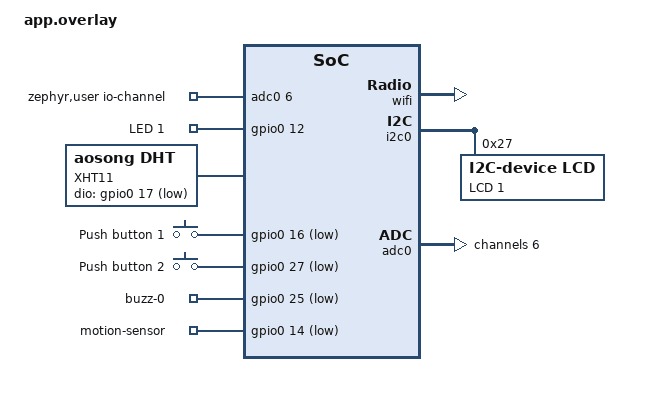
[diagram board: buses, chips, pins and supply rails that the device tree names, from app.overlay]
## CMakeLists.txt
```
cmake_minimum_required(VERSION 3.20.0)

find_package(Zephyr REQUIRED HINTS 
$ENV{ZEPHYR_BASE})
project(zephyr_smart_home)

target_sources(app PRIVATE 
    src/lcd_screen_i2c.c
    src/main.c
    src/adc_handler.c
    src/wifi_handler.c
)
```

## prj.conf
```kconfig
# Sensor
CONFIG_I2C=y
CONFIG_SENSOR=y
CONFIG_ADC=y

CONFIG_WIFI=y
CONFIG_INIT_STACKS=y
# Enable Wifi Management Interface
CONFIG_NET_L2_WIFI_MGMT=y
# Wifi requires large heap size
CONFIG_HEAP_MEM_POOL_SIZE=98304
# Add support for ethernet layer (used in wifi)
CONFIG_NET_L2_ETHERNET=y
CONFIG_ESP32_WIFI_STA_AUTO_DHCPV4=y
CONFIG_NETWORKING=y
CONFIG_NET_IPV4=y
CONFIG_NET_IPV6=n
CONFIG_NET_UDP=y
CONFIG_NET_TCP=y
CONFIG_DNS_RESOLVER=y
CONFIG_DNS_RESOLVER_AI_MAX_ENTRIES=10
CONFIG_NET_SOCKETS_POSIX_NAMES=y
CONFIG_NET_SOCKETS=y
CONFIG_HTTP_CLIENT=y
# Use DHCP for IPv4
CONFIG_NET_DHCPV4=y
CONFIG_NET_CONFIG_SETTINGS=y
CONFIG_NET_TX_STACK_SIZE=2048
CONFIG_NET_RX_STACK_SIZE=2048
CONFIG_NET_PKT_TX_COUNT=10
CONFIG_NET_PKT_RX_COUNT=10
CONFIG_NET_BUF_RX_COUNT=20
CONFIG_NET_BUF_TX_COUNT=20
CONFIG_NET_MAX_CONTEXTS=10
```

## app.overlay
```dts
/ {

    zephyr,user{
        io-channels = <&adc0 6>;
    };

    gpio_keys {
        compatible = "gpio-keys";
        ledyellow: led_yellow {
            gpios = <&gpio0 12 GPIO_ACTIVE_HIGH>;
            label = "LED 1";
        };
    };

    dht11: dht11 {
        compatible = "aosong,dht";
        status = "okay";
        dio-gpios = <&gpio0 17 GPIO_ACTIVE_LOW>;
        label = "XHT11";
        };
        
    buttons {
        compatible = "gpio-keys";
        button0: button_0 {
        gpios = <&gpio0 16 (GPIO_PULL_UP | GPIO_ACTIVE_LOW)>;
        label = "Push button 1";
        };
        button1: button_1 {
        gpios = <&gpio0 27 (GPIO_PULL_UP | GPIO_ACTIVE_LOW)>;
        label = "Push button 2";
        };
    };

    buzzer {
        compatible = "gpio-keys";
        buzz0: buzz_0 {
        gpios = <&gpio0 25 GPIO_ACTIVE_LOW>;
        label = "buzz-0";
        };
    };

    pir {
        compatible = "gpio-keys";
        motionsensor: motion_sensor {
        gpios = <&gpio0 14 GPIO_ACTIVE_LOW>;
        label = "motion-sensor";
        };
    };

    aliases {
        led-yellow = &ledyellow;
        lcd-screen = &lcd;
        button-0 = &button0;
        button-1 = &button1;
        buzz-0 = &buzz0;
        motion-sensor = &motionsensor;
    };

};

&wifi {
    status = "okay";
};

&i2c0 {
	lcd: lcd_screen@27 {
		compatible = "I2C-device,lcd";
		label = "LCD 1";
		reg = <0x27>;
	};

};


&adc0{

    status = "okay";
    #address-cells = <1>;
    #size-cells = <0>;

    channel@6 {
       reg = <0x06>;
       zephyr,gain = "ADC_GAIN_1_4";
       zephyr,reference = "ADC_REF_INTERNAL";
       zephyr,acquisition-time = <ADC_ACQ_TIME_DEFAULT>;
       zephyr,resolution = <12>;
   };
};
```

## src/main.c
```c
#include <zephyr/kernel.h>
#include <zephyr/drivers/gpio.h>
#include <zephyr/drivers/i2c.h>
#include <zephyr/drivers/adc.h>
#include <zephyr/device.h>
#include <zephyr/drivers/sensor.h>

#include <zephyr/net/net_if.h>
#include <zephyr/net/wifi_mgmt.h>
#include <zephyr/net/socket.h>
#include <zephyr/net/net_event.h>
#include <zephyr/net/http/client.h>
#include <errno.h>

#include <inttypes.h>
#include <stddef.h>
#include <stdint.h>
#include <stdio.h>
#include <stdlib.h>
#include <string.h>

#include <zephyr/devicetree.h>
#include <zephyr/sys/printk.h>
#include <zephyr/sys/util.h>


#include "../inc/lcd_screen_i2c.h"
#include "../inc/adc_handler.h"
#include "../inc/wifi_handler.h"

#define LED_YELLOW_NODE DT_ALIAS(led_yellow)
#define LCD_1602 DT_ALIAS(lcd_screen)
#define BUTTON_0 DT_ALIAS(button_0)
#define BUTTON_1 DT_ALIAS(button_1)
#define BUZZ_0 DT_ALIAS(buzz_0)
#define MOTION_SENSOR DT_ALIAS(motion_sensor)

K_MUTEX_DEFINE(lcd_mutex);

const struct device *const dht11 = DEVICE_DT_GET_ONE(aosong_dht);
const struct gpio_dt_spec led_yellow_gpio = GPIO_DT_SPEC_GET_OR(LED_YELLOW_NODE, gpios, {0});
const struct i2c_dt_spec dev_lcd_screen = I2C_DT_SPEC_GET(LCD_1602);

const struct gpio_dt_spec b0 = GPIO_DT_SPEC_GET_OR(BUTTON_0, gpios, {0});
const struct gpio_dt_spec b1 = GPIO_DT_SPEC_GET_OR(BUTTON_1, gpios, {0});

const struct gpio_dt_spec buzz0 = GPIO_DT_SPEC_GET_OR(BUZZ_0, gpios, {0});

const struct gpio_dt_spec MotionSensor = GPIO_DT_SPEC_GET_OR(MOTION_SENSOR, gpios, {0});

static struct gpio_callback b0_callback;
static struct gpio_callback b1_callback;
volatile int flag = 0;
volatile int flag_d = 0;
volatile int state_alarm = 0;
volatile int state_intru = 0;


K_SEM_DEFINE(init_gpio_sem,0,3);

//K_SEM_DEFINE(alarm_sem,0,1);


void button0_pressed(const struct device *dev, struct gpio_callback *cb,uint32_t pins)
{
	printk("Button pressed at %" PRIu32 "\n", k_cycle_get_32());
	flag = 1;
	printk("flag int %d\n",flag);
}

void button1_pressed(const struct device *dev, struct gpio_callback *cb,uint32_t pins)
{
	printk("Button pressed at %" PRIu32 "\n", k_cycle_get_32());
	flag_d = 1;
	printk("flag_d int %d\n",flag);
}

void sensor_channel_thread() {

	k_sem_take(&init_gpio_sem, K_FOREVER);

	printk("Je suis dans le thread sensor\n");
	init_adc_driver();

	while(1) {

		struct sensor_value temp, press, humidity;

		sensor_sample_fetch(dht11);
		sensor_channel_get(dht11, SENSOR_CHAN_AMBIENT_TEMP, &temp);
		sensor_channel_get(dht11, SENSOR_CHAN_PRESS, &press);
		sensor_channel_get(dht11, SENSOR_CHAN_HUMIDITY, &humidity);

		printk("temp: %d.%06d;  humidity: %d.%06d ",
		      temp.val1, temp.val2, 
		      humidity.val1, humidity.val2);
		
		int val  = read_analog_data();
		
		printk("val steam: %d\n", val);

		k_sleep(K_MSEC(1000));
	}
}

/*
void button_thread() {

	k_sem_take(&init_gpio_sem, K_FOREVER);
}
*/

//lcd_alarm_off(flag, &dev_lcd_screen, STOP_ALERT_MONITORING_MSG_2, LCD_LINE_2 );
//lcd_alarm_on(flag_d, &dev_lcd_screen, START_ALERT_MONITORING_MSG_1, LCD_LINE_2 );

void alarm_thread(){

	k_sem_take(&init_gpio_sem, K_FOREVER);
	printk("Je suis dans le thread alarm lcd\n");

	while(1) 
	{

		int sens_val = gpio_pin_get_dt(&MotionSensor);


		if(sens_val == 0 && state_alarm == 1 && flag == 0  && flag_d == 0) {
			k_mutex_lock(&lcd_mutex, K_FOREVER);
			write_lcd(&dev_lcd_screen, INTRUDER_MSG_1, LCD_LINE_1);
			write_lcd(&dev_lcd_screen, INTRUDER_MSG_2, LCD_LINE_2);
			k_mutex_unlock(&lcd_mutex);

		}
		else if(sens_val == 1 && state_alarm == 1 && flag == 0  && flag_d == 0) {
			k_mutex_lock(&lcd_mutex, K_FOREVER);
			write_lcd(&dev_lcd_screen, HELLO_MSG, LCD_LINE_1);
			write_lcd(&dev_lcd_screen, START_ALERT_MONITORING_MSG_1, LCD_LINE_2);
			k_mutex_unlock(&lcd_mutex);
		}

		k_sleep(K_MSEC(10));

	}
}


int main(void) {

    gpio_pin_configure_dt(&led_yellow_gpio, GPIO_OUTPUT_HIGH);
	
    // Init device
    init_lcd(&dev_lcd_screen);

    // Display a message
    write_lcd(&dev_lcd_screen, HELLO_MSG, LCD_LINE_1);
    //write_lcd(&dev_lcd_screen, ZEPHYR_MSG, LCD_LINE_2);

	// Button configuration
    gpio_pin_configure_dt(&b0, GPIO_INPUT);
    gpio_pin_configure_dt(&b1, GPIO_INPUT);

	// Motion sensor conf
	gpio_pin_configure_dt(&MotionSensor, GPIO_INPUT);
	gpio_pin_configure_dt(&buzz0, GPIO_OUTPUT_LOW);

	int val0 = gpio_pin_get_dt(&b0);
	int val1 = gpio_pin_get_dt(&b1);

	gpio_pin_interrupt_configure_dt(&b0, GPIO_INT_EDGE_TO_ACTIVE);
	gpio_pin_interrupt_configure_dt(&b1, GPIO_INT_EDGE_TO_ACTIVE);


	gpio_init_callback(&b0_callback, button0_pressed, BIT(b0.pin));
	gpio_add_callback(b0.port, &b0_callback);
		
	gpio_init_callback(&b1_callback, button1_pressed, BIT(b1.pin));
	gpio_add_callback(b1.port, &b1_callback);

	printk("\nBefore sem init gpio");
	k_sem_give(&init_gpio_sem);
	k_sem_give(&init_gpio_sem);
	k_sem_give(&init_gpio_sem);
	//k_sem_give(&init_gpio_sem);
	printk("\nBefore sem alarm\n");
	//k_sem_give(&alarm_sem);
	printk("Je lance le main\n");

	init_wifi();

	wifi_connect();

	//k_sem_take(&wifi_connected, K_FOREVER);
	wifi_status();
	//k_sem_take(&ipv4_address_obtained, K_FOREVER);

	static struct addrinfo hints;
	struct addrinfo *res;
	int st, sock, ret;
	struct http_request req = { 0 };
	static uint8_t recv_buf[512];

	hints.ai_family = AF_INET;
	hints.ai_socktype = SOCK_STREAM;
	st = getaddrinfo(HTTP_HOST, HTTP_PORT, &hints, &res);
	printf("getaddrinfo status: %d\n", st);
	if (st != 0) {
		printf("Unable to resolve address, quitting\n");
		return 0;
	}
	sock = socket(res->ai_family, res->ai_socktype, res->ai_protocol);
	zsock_connect(sock, res->ai_addr, res->ai_addrlen);

	req.method = HTTP_GET;
	req.url = "/home";
	req.host = HTTP_HOST;
	req.protocol = "HTTP/1.1";
	req.response = response_cb;
	req.recv_buf = recv_buf;
	req.recv_buf_len = sizeof(recv_buf);
	ret = http_client_req(sock, &req, 5000, NULL);

	zsock_close(sock);

	while (1) {
		if (flag == 1){

			k_mutex_lock(&lcd_mutex, K_FOREVER);
        	write_lcd(&dev_lcd_screen , START_ALERT_MONITORING_MSG_1, LCD_LINE_2);
        	write_lcd(&dev_lcd_screen , HELLO_MSG, LCD_LINE_1);

			printk("flag %d\n",flag);
			
			flag = 0;
			state_alarm = 1;
			k_mutex_unlock(&lcd_mutex);

			
		}

		if (flag_d == 1){

			k_mutex_lock(&lcd_mutex, K_FOREVER);
        	write_lcd(&dev_lcd_screen , STOP_ALERT_MONITORING_MSG_2, LCD_LINE_2);
        	write_lcd(&dev_lcd_screen , HELLO_MSG, LCD_LINE_1);
        	printk("flag_d %d\n",flag_d);

			flag_d = 0;
			state_alarm = 0;

			k_mutex_unlock(&lcd_mutex);

    	}
		k_sleep(K_MSEC(20));
		
	}

	return 0;
}

K_THREAD_DEFINE(sensor_channel_thread_id, 521, sensor_channel_thread, NULL, NULL, NULL, 9, 0, 0);
K_THREAD_DEFINE(alarm_thread_id, 521, alarm_thread, NULL, NULL, NULL, 9, 0, 0);
//K_THREAD_DEFINE(alarm_sound_id, 521, alarm_sound, NULL, NULL, NULL, 9, 0, 0);

//K_THREAD_DEFINE(steam_thread_id, 521, steam_thread, NULL, NULL, NULL, 9, 0, 0);
```

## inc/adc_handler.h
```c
#ifndef INC_ADC_HANDLER_H_
#define INC_ADC_HANDLER_H_

int init_adc_driver();
int read_analog_data();

#endif
```

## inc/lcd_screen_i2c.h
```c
/**
 * Author: Vivien Debuchy
 * Simple library for LCD-1602 I2C
 * Based on https://github.com/sterlingbeason/LCD-1602-I2C
 */

#ifndef INC_LDC_SCREEN_I2C_H_
#define INC_LDC_SCREEN_I2C_H_

#include <zephyr/types.h>

struct i2c_dt_spec;

#define LCD_BACKLIGHT 0x08
#define LCD_CMD 0x00
#define LCD_CHR 0x01
#define LCD_ENABLE 0b00000100
#define LCD_LINE_1 0x80 // Select line 1
#define LCD_LINE_2 0xc0 // Select line 2
#define LCD_WIDTH 16    // Max number of carac per lines

#define HELLO_MSG "Andy <3 <3 <3>"
#define ZEPHYR_MSG "Zephyr is cool"

#define START_ALERT_MONITORING_MSG_1 "ALARM ON        "
#define STOP_ALERT_MONITORING_MSG_2 "ALARM OFF       "

#define INTRUDER_MSG_1 "INTRUDER        "
#define INTRUDER_MSG_2 "LEAVE !         "

void init_lcd(const struct i2c_dt_spec *dev_lcd_screen);
void write_lcd(const struct i2c_dt_spec *dev_lcd_screen, const char *msg, uint8_t line);
void lcd_alarm_on(volatile int flag,const struct i2c_dt_spec *dev_lcd_screen, const char *msg, uint8_t line);
void lcd_alarm_off(volatile int flag,const struct i2c_dt_spec *dev_lcd_screen, const char *msg, uint8_t line);


#endif // INC_LDC_SCREEN_I2C_H_
```

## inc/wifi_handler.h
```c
#ifndef INC_WIFI_HANDLER_H_
#define INC_WIFI_HANDLER_H_

#define SSID "Veni"
#define PSK "yatangaki7"

#define HTTP_HOST "192.168.78.158"
#define HTTP_PORT "5000"

void wifi_connect(void);
void wifi_status(void);
void init_wifi();
void response_cb(struct http_response *rsp, enum http_final_call final_data, void *user_data);

#endif
```

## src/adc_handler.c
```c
#include <inttypes.h>
#include <stddef.h>
#include <stdint.h>

#include <zephyr/device.h>
#include <zephyr/devicetree.h>
#include <zephyr/drivers/adc.h>
#include <zephyr/kernel.h>
#include <zephyr/sys/printk.h>
#include <zephyr/sys/util.h>

#include "../inc/adc_handler.h"


#if !DT_NODE_EXISTS(DT_PATH(zephyr_user)) || \
	!DT_NODE_HAS_PROP(DT_PATH(zephyr_user), io_channels)
#error "No suitable devicetree overlay specified"
#endif

#define DT_SPEC_AND_COMMA(node_id, prop, idx) \
	ADC_DT_SPEC_GET_BY_IDX(node_id, idx),

/* Data of ADC io-channels specified in devicetree. */
static const struct adc_dt_spec adc_channels[] = {
	DT_FOREACH_PROP_ELEM(DT_PATH(zephyr_user), io_channels,
			     DT_SPEC_AND_COMMA)
};
int err;
uint32_t count = 0;
uint16_t buf;
struct adc_sequence sequence = {
	.buffer = &buf,
	/* buffer size in bytes, not number of samples */
	.buffer_size = sizeof(buf),
};


int init_adc_driver() {
	
	/* Configure channels individually prior to sampling. */
	for (size_t i = 0U; i < ARRAY_SIZE(adc_channels); i++) {
		if (!adc_is_ready_dt(&adc_channels[i])) {
			printk("ADC controller device %s not ready\n", adc_channels[i].dev->name);
			return 0;
		}

		err = adc_channel_setup_dt(&adc_channels[i]);
		if (err < 0) {
			printk("Could not setup channel #%d (%d)\n", i, err);
			return 0;
		}
	}
}

int read_analog_data() {
		for (size_t i = 0U; i < ARRAY_SIZE(adc_channels); i++) {
			int32_t val_mv;

			/*
				printk("- %s, channel %d: ",
			       adc_channels[i].dev->name,
			       adc_channels[i].channel_id);
			*/
			(void)adc_sequence_init_dt(&adc_channels[i], &sequence);

			err = adc_read_dt(&adc_channels[i], &sequence);
			if (err < 0) {
				printk("Could not read (%d)\n", err);
					continue;
			}

			/*
			 * If using differential mode, the 16 bit value
			 * in the ADC sample buffer should be a signed 2's
			 * complement value.
			 */
			if (adc_channels[i].channel_cfg.differential) {
				val_mv = (int32_t)((int16_t)buf);
			} else {
				val_mv = (int32_t)buf;
			}
			printk("%"PRId32, val_mv);
			err = adc_raw_to_millivolts_dt(&adc_channels[i],
						       &val_mv);
			/* conversion to mV may not be supported, skip if not */
			if (err < 0) {
				printk(" (value in mV not available)\n");
			} else {
		        return val_mv;
			}
            
		}
        return 0;
}
```

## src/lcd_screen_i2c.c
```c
#include "../inc/lcd_screen_i2c.h"

#include <zephyr/kernel.h>
#include <string.h>

#include <zephyr/drivers/i2c.h>

//K_MUTEX_DEFINE(lcd_mutex);

static void lcd_toggle_enable(const struct i2c_dt_spec *dev_lcd_screen, uint8_t bits);
static void lcd_byte(const struct i2c_dt_spec *dev_lcd_screen, uint8_t bits, uint8_t mode);

    void init_lcd(const struct i2c_dt_spec *dev_lcd_screen)
{
    lcd_byte(dev_lcd_screen, 0x33, LCD_CMD);
    lcd_byte(dev_lcd_screen, 0x32, LCD_CMD);
    lcd_byte(dev_lcd_screen, 0x06, LCD_CMD);
    lcd_byte(dev_lcd_screen, 0x0c, LCD_CMD);
    lcd_byte(dev_lcd_screen, 0x28, LCD_CMD);
    lcd_byte(dev_lcd_screen, 0x01, LCD_CMD);
    write_lcd(dev_lcd_screen, HELLO_MSG, LCD_LINE_1);
    write_lcd(dev_lcd_screen, ZEPHYR_MSG, LCD_LINE_2);
}

static void lcd_byte(const struct i2c_dt_spec *dev_lcd_screen, uint8_t bits, uint8_t mode)
{
    int ret = 0;
    uint8_t bits_high = mode | (bits & 0xf0) | LCD_BACKLIGHT;
    uint8_t bits_low = mode | ((bits << 4) & 0xf0) | LCD_BACKLIGHT;
    ret = i2c_write_dt(dev_lcd_screen, &bits_high, sizeof(bits_high));
    if (ret != 0)
    {
        printk("ERROR while writing to I2C");
    }
    lcd_toggle_enable(dev_lcd_screen, bits_high);

    ret = i2c_write_dt(dev_lcd_screen, &bits_low, sizeof(bits_low));
    if (ret != 0)
    {
        printk("ERROR while writing to I2C");
    }
    lcd_toggle_enable(dev_lcd_screen, bits_low);
}

void write_lcd(const struct i2c_dt_spec *dev_lcd_screen, const char *msg, uint8_t line)
{
    //k_mutex_lock(&lcd_mutex, K_FOREVER);

    lcd_byte(dev_lcd_screen, line, LCD_CMD);

    // Todo: fill the array with space at the end to complete the line

    if (strlen(msg) > LCD_WIDTH)
    {
        return;
    }
    for (uint8_t i = 0; i < strlen(msg); i++)
    {
        lcd_byte(dev_lcd_screen, msg[i], LCD_CHR);
    }
    //k_mutex_unlock(&lcd_mutex);
}

static void lcd_toggle_enable(const struct i2c_dt_spec *dev_lcd_screen, uint8_t bits)
{
    int ret = 0;
    k_sleep(K_MSEC(5));
    uint8_t bits1 = bits | LCD_ENABLE;
    ret = i2c_write_dt(dev_lcd_screen, &bits1, sizeof(bits1));
    if (ret != 0)
    {
        printk("ERROR while writing to I2C");
    }
    k_sleep(K_MSEC(5));
    uint8_t bits2 = bits & ~LCD_ENABLE;
    ret = i2c_write_dt(dev_lcd_screen, &bits2, sizeof(bits2));
    if (ret != 0)
    {
        printk("ERROR while writing to I2C");
    }
    k_sleep(K_MSEC(5));
}

/*
void lcd_alarm_on(volatile int flag,const struct i2c_dt_spec *dev_lcd_screen, const char *msg, uint8_t line){

    if (flag == 1){
        write_lcd(dev_lcd_screen , msg, line);
        write_lcd(dev_lcd_screen , HELLO_MSG, LCD_LINE_1);
    }
}

void lcd_alarm_off(volatile int flag,const struct i2c_dt_spec *dev_lcd_screen, const char *msg, uint8_t line){

    if (flag == 1){
        write_lcd(dev_lcd_screen , msg, line);
        write_lcd(dev_lcd_screen , HELLO_MSG, LCD_LINE_1);
        flag = 0;
    }
}
*/
```

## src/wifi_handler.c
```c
#include <zephyr/net/net_if.h>
#include <zephyr/net/wifi_mgmt.h>
#include <zephyr/net/socket.h>
#include <zephyr/net/net_event.h>
#include <zephyr/net/http/client.h>
#include <errno.h>

#include "../inc/wifi_handler.h"


static struct net_mgmt_event_callback wifi_cb;
static struct net_mgmt_event_callback ipv4_cb;

static void wifi_mgmt_event_handler(struct net_mgmt_event_callback *cb, uint32_t mgmt_event, struct net_if *iface);
static void handle_wifi_connect_result(struct net_mgmt_event_callback *cb);
static void handle_wifi_disconnect_result(struct net_mgmt_event_callback *cb);
static void handle_ipv4_result(struct net_if *iface);

void init_wifi() {

    net_mgmt_init_event_callback(
			&wifi_cb, 
			wifi_mgmt_event_handler,
			NET_EVENT_WIFI_CONNECT_RESULT | NET_EVENT_WIFI_DISCONNECT_RESULT
		);

	net_mgmt_init_event_callback(
			&ipv4_cb, 
			wifi_mgmt_event_handler, 
			NET_EVENT_IPV4_ADDR_ADD
		);
}

void response_cb(struct http_response *rsp,
                        enum http_final_call final_data,
                        void *user_data)
{
    if (final_data == HTTP_DATA_MORE) {
        printk("Partial data received (%zd bytes)", rsp->data_len);
    } else if (final_data == HTTP_DATA_FINAL) {
        printk("All the data received (%zd bytes)", rsp->data_len);
    }

    printk("Response status %s", rsp->http_status);
}

static void wifi_mgmt_event_handler(struct net_mgmt_event_callback *cb, uint32_t mgmt_event, struct net_if *iface)
{
	switch (mgmt_event)
		{
		case NET_EVENT_WIFI_CONNECT_RESULT:
			handle_wifi_connect_result(cb);
			break;
		case NET_EVENT_WIFI_DISCONNECT_RESULT:
			handle_wifi_disconnect_result(cb);
			break;
		case NET_EVENT_IPV4_ADDR_ADD:
			handle_ipv4_result(iface);
			break;
		default:
			break;
	}
}

static void handle_wifi_connect_result(struct net_mgmt_event_callback *cb)
{
const struct wifi_status *status = (const struct wifi_status *)cb->info;
    if (status->status)
    {
        printk("Connection request failed (%d)\n", status->status);
    }
    else
    {
        printk("Connected\n");
        //k_sem_give(&wifi_connected);
    }
}

static void handle_wifi_disconnect_result(struct net_mgmt_event_callback *cb)
{
    const struct wifi_status *status = (const struct wifi_status *)cb->info;
    if (status->status)
    {
        printk("Disconnection request (%d)\n", status->status);
    }
    else
    {
        printk("Disconnected\n");
        //k_sem_take(&wifi_connected, K_NO_WAIT);
    }
}

static void handle_ipv4_result(struct net_if *iface)
{
    int i = 0;
    for (i = 0; i < NET_IF_MAX_IPV4_ADDR; i++) {
        char buf[NET_IPV4_ADDR_LEN];
        if (iface->config.ip.ipv4->unicast[i].addr_type != NET_ADDR_DHCP) {
            continue;
        }
        printk("IPv4 address: %s\n",
        net_addr_ntop(AF_INET,
            &iface->config.ip.ipv4->unicast[i].address.in_addr,
            buf, sizeof(buf)));
        printk("Subnet: %s\n", net_addr_ntop(AF_INET,
            &iface->config.ip.ipv4->netmask,
            buf, sizeof(buf)));
        printk("Router: %s\n",
            net_addr_ntop(AF_INET,
            &iface->config.ip.ipv4->gw,
            buf, sizeof(buf)));
    }
    //k_sem_give(&ipv4_address_obtained);
}

void wifi_connect(void)
{
    struct net_if *iface = net_if_get_default();
    struct wifi_connect_req_params wifi_params = {0};
    wifi_params.ssid = SSID;
    wifi_params.psk = PSK;
    wifi_params.ssid_length = strlen(SSID);
    wifi_params.psk_length = strlen(PSK);
    wifi_params.channel = WIFI_CHANNEL_ANY;
    wifi_params.security = WIFI_SECURITY_TYPE_PSK;
    wifi_params.band = WIFI_FREQ_BAND_2_4_GHZ;
    wifi_params.mfp = WIFI_MFP_OPTIONAL;
    printk("Connecting to SSID: %s\n", wifi_params.ssid);
    if (net_mgmt(NET_REQUEST_WIFI_CONNECT, iface, &wifi_params, sizeof(struct wifi_connect_req_params))) {
        printk("WiFi Connection Request Failed\n");
    }
}

void wifi_status(void)
{
    struct net_if *iface = net_if_get_default();
    struct wifi_iface_status status = {0};
    if (net_mgmt(NET_REQUEST_WIFI_IFACE_STATUS, iface, &status, sizeof(struct wifi_iface_status))){
        printk("WiFi Status Request Failed\n");
    }
    printk("\n");
    if (status.state >= WIFI_STATE_ASSOCIATED){
        printk("SSID: %-32s\n", status.ssid);
        printk("Channel: %d\n", status.channel);
        printk("RSSI: %d\n", status.rssi);
    }
}
```
